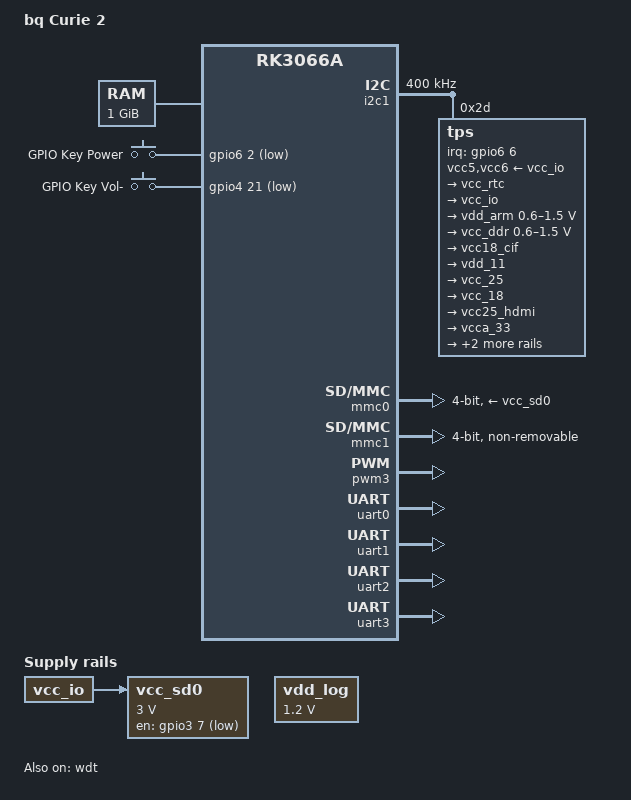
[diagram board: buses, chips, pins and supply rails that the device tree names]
/*
 * Copyright (c) 2013 MundoReader S.L.
 * Author: Heiko Stuebner <heiko@sntech.de>
 *
 * This file is dual-licensed: you can use it either under the terms
 * of the GPL or the X11 license, at your option. Note that this dual
 * licensing only applies to this file, and not this project as a
 * whole.
 *
 *  a) This file is free software; you can redistribute it and/or
 *     modify it under the terms of the GNU General Public License as
 *     published by the Free Software Foundation; either version 2 of the
 *     License, or (at your option) any later version.
 *
 *     This file is distributed in the hope that it will be useful,
 *     but WITHOUT ANY WARRANTY; without even the implied warranty of
 *     MERCHANTABILITY or FITNESS FOR A PARTICULAR PURPOSE.  See the
 *     GNU General Public License for more details.
 *
 * Or, alternatively,
 *
 *  b) Permission is hereby granted, free of charge, to any person
 *     obtaining a copy of this software and associated documentation
 *     files (the "Software"), to deal in the Software without
 *     restriction, including without limitation the rights to use,
 *     copy, modify, merge, publish, distribute, sublicense, and/or
 *     sell copies of the Software, and to permit persons to whom the
 *     Software is furnished to do so, subject to the following
 *     conditions:
 *
 *     The above copyright notice and this permission notice shall be
 *     included in all copies or substantial portions of the Software.
 *
 *     THE SOFTWARE IS PROVIDED "AS IS", WITHOUT WARRANTY OF ANY KIND,
 *     EXPRESS OR IMPLIED, INCLUDING BUT NOT LIMITED TO THE WARRANTIES
 *     OF MERCHANTABILITY, FITNESS FOR A PARTICULAR PURPOSE AND
 *     NONINFRINGEMENT. IN NO EVENT SHALL THE AUTHORS OR COPYRIGHT
 *     HOLDERS BE LIABLE FOR ANY CLAIM, DAMAGES OR OTHER LIABILITY,
 *     WHETHER IN AN ACTION OF CONTRACT, TORT OR OTHERWISE, ARISING
 *     FROM, OUT OF OR IN CONNECTION WITH THE SOFTWARE OR THE USE OR
 *     OTHER DEALINGS IN THE SOFTWARE.
 */

/dts-v1/;
#include <dt-bindings/input/input.h>
#include "rk3066a.dtsi"

/ {
	model = "bq Curie 2";
	compatible = "mundoreader,bq-curie2", "rockchip,rk3066a";

	memory@60000000 {
		device_type = "memory";
		reg = <0x60000000 0x40000000>;
	};

	vdd_log: vdd-log {
		compatible = "pwm-regulator";
		pwms = <&pwm3 0 1000>;
		regulator-name = "vdd_log";
		regulator-min-microvolt = <1200000>;
		regulator-max-microvolt = <1200000>;
		regulator-always-on;
		voltage-table = <1000000 100>,
				<1200000 42>;
		status = "okay";
	};

	vcc_sd0: fixed-regulator {
		compatible = "regulator-fixed";
		regulator-name = "sdmmc-supply";
		regulator-min-microvolt = <3000000>;
		regulator-max-microvolt = <3000000>;
		gpio = <&gpio3 7 GPIO_ACTIVE_LOW>;
		startup-delay-us = <100000>;
		vin-supply = <&vcc_io>;
	};

	gpio-keys {
		compatible = "gpio-keys";
		autorepeat;

		power {
			gpios = <&gpio6 2 GPIO_ACTIVE_LOW>; /* GPIO6_A2 */
			linux,code = <KEY_POWER>;
			label = "GPIO Key Power";
			linux,input-type = <1>;
			wakeup-source;
			debounce-interval = <100>;
		};
		volume-down {
			gpios = <&gpio4 21 GPIO_ACTIVE_LOW>; /* GPIO4_C5 */
			linux,code = <KEY_VOLUMEDOWN>;
			label = "GPIO Key Vol-";
			linux,input-type = <1>;
			debounce-interval = <100>;
		};
		/* VOL+ comes somehow thru the ADC */
	};
};

&cpu0 {
	cpu0-supply = <&vdd_arm>;
};

&i2c1 {
	status = "okay";
	clock-frequency = <400000>;

	tps: tps@2d {
		reg = <0x2d>;

		interrupt-parent = <&gpio6>;
		interrupts = <6 IRQ_TYPE_LEVEL_LOW>;

		vcc5-supply = <&vcc_io>;
		vcc6-supply = <&vcc_io>;

		regulators {
			vcc_rtc: regulator@0 {
				regulator-name = "vcc_rtc";
				regulator-always-on;
			};

			vcc_io: regulator@1 {
				regulator-name = "vcc_io";
				regulator-always-on;
			};

			vdd_arm: regulator@2 {
				regulator-name = "vdd_arm";
				regulator-min-microvolt = <600000>;
				regulator-max-microvolt = <1500000>;
				regulator-boot-on;
				regulator-always-on;
			};

			vcc_ddr: regulator@3 {
				regulator-name = "vcc_ddr";
				regulator-min-microvolt = <600000>;
				regulator-max-microvolt = <1500000>;
				regulator-boot-on;
				regulator-always-on;
			};

			vcc18_cif: regulator@5 {
				regulator-name = "vcc18_cif";
				regulator-always-on;
			};

			vdd_11: regulator@6 {
				regulator-name = "vdd_11";
				regulator-always-on;
			};

			vcc_25: regulator@7 {
				regulator-name = "vcc_25";
				regulator-always-on;
			};

			vcc_18: regulator@8 {
				regulator-name = "vcc_18";
				regulator-always-on;
			};

			vcc25_hdmi: regulator@9 {
				regulator-name = "vcc25_hdmi";
				regulator-always-on;
			};

			vcca_33: regulator@10 {
				regulator-name = "vcca_33";
				regulator-always-on;
			};

			vcc_tp: regulator@11 {
				regulator-name = "vcc_tp";
				regulator-always-on;
			};

			vcc28_cif: regulator@12 {
				regulator-name = "vcc28_cif";
				regulator-always-on;
			};
		};
	};
};

/* must be included after &tps gets defined */
#include "tps65910.dtsi"

&mmc0 { /* sdmmc */
	num-slots = <1>;
	status = "okay";
	pinctrl-names = "default";
	pinctrl-0 = <&sd0_clk>, <&sd0_cmd>, <&sd0_cd>, <&sd0_bus4>;
	vmmc-supply = <&vcc_sd0>;
	bus-width = <4>;
	cap-mmc-highspeed;
	cap-sd-highspeed;
	disable-wp;
};

&mmc1 { /* wifi */
	num-slots = <1>;
	status = "okay";
	non-removable;

	pinctrl-names = "default";
	pinctrl-0 = <&sd1_clk &sd1_cmd &sd1_bus4>;

	bus-width = <4>;
	disable-wp;
};

&pwm3 {
	status = "okay";
};

&uart0 {
	status = "okay";
};

&uart1 {
	status = "okay";
};

&uart2 {
	status = "okay";
};

&uart3 {
	status = "okay";
};

&wdt {
	status = "okay";
};
